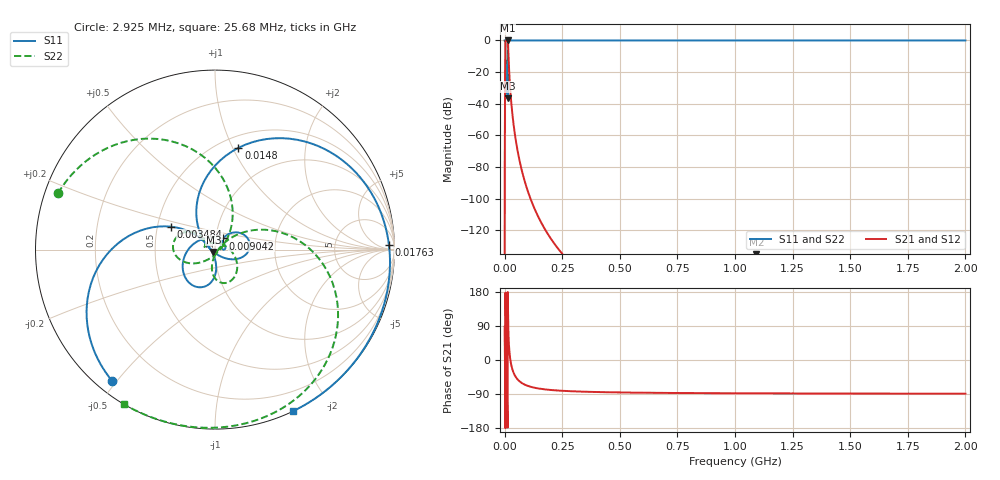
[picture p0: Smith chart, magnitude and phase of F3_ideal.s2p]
! Created with skrf 2.2.0 (http://scikit-rf.org).
# MHz S RI R 50.0
! Port[1] = P1
! Port[2] = P2
!freq ReS11 ImS11 ReS21 ImS21 ReS12 ImS12 ReS22 ImS22
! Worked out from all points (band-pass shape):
!   2001 points, 50 kHz to 2 GHz, reference 50 ohm
!   highest |S21| = 0.00 dB at 13.1 MHz (marker M1); lowest = -198.9 dB at 1.093 GHz (marker M2)
!   |S21| within 3 dB of the highest: 3.211 MHz to 15.21 MHz (12 MHz wide, 130 % of centre)
!   lowest |S11| = -36.4 dB at 13.1 MHz (marker M3), VSWR 1.03, Z = 49.2 - j1.23 ohm
!   |S11| at or under -10 dB: 3.46 MHz to 14.09 MHz (10.63 MHz wide, 121 % of centre)
!   |S22| runs from -36.4 to 0.0 dB; largest |S21 - S12| = 1.6e-15
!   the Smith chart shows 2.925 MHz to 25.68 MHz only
!   S11 on the Smith chart (normalised r, x): 2.925 MHz: 0.05, -0.49; 3.484 MHz: 0.59, +0.16; 9.042 MHz: 1.09, +0.14; 14.8 MHz: 0.61, +1.05; 17.63 MHz: 37, +32; 25.68 MHz: 0.00, -1.59
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0.05  0.9997 -0.0258  9.06e-12 2.17e-10  9.06e-12 2.17e-10  0.9983 -0.0575
0.2934364  0.9885 -0.151  3.67e-07 1.48e-06  3.67e-07 1.48e-06  0.9438 -0.3304
0.6777613  0.9382 -0.3462  5.42e-05 8.6e-05  5.42e-05 8.6e-05  0.7171 -0.697
1.712999  0.5701 -0.8215  0.0123 0.00181  0.0123 0.00181  -0.3086 -0.9511
2.316945  0.1308 -0.9887  0.0662 -0.03  0.0662 -0.03  -0.83 -0.553
2.925237  -0.572 -0.7326  0.1028 -0.3543  0.1028 -0.3543  -0.8753 0.3127
3.484135  -0.2465 0.1278  -0.8941 -0.3515  -0.8941 -0.3515  0.0935 0.2615
3.752403  -0.000796 -0.0515  -0.9692 0.2408  -0.9692 0.2408  -0.0234 -0.0459
4.106076  -0.0542 -0.2046  -0.6779 0.704  -0.6779 0.704  -0.2065 -0.0465
4.968943  -0.1736 -0.0492  0.1527 0.9717  0.1527 0.9717  -0.1501 0.1001
6.720828  0.052 0.0302  0.9876 0.1447  0.9876 0.1447  -0.0585 0.014
9.042332  0.0461 0.0621  0.4782 -0.8748  0.4782 -0.8748  0.0772 0.00532
10  0.1138 0.0961  0.0525 -0.9875  0.0525 -0.9875  0.1234 -0.0834
13.10245  -0.00837 -0.0125  -0.9882 -0.1524  -0.9882 -0.1524  0.0117 -0.00941
14.80049  0.1308 0.5671  -0.4779 0.6579  -0.4779 0.6579  0.5798 -0.0509
17.62829  0.9691 0.0258  0.1408 0.2011  0.1408 0.2011  0.3073 -0.9194
25.67931  0.4356 -0.8999  0.0215 -0.000893  0.0215 -0.000893  -0.5085 -0.8608
58.68728  -0.6289 -0.7775  0.000161 -0.000212  0.000161 -0.000212  -0.9171 -0.3986
74.4887  -0.7626 -0.6469  3.89e-05 -6.93e-05  3.89e-05 -6.93e-05  -0.9491 -0.3151
342.5997  -0.9882 -0.153  4.18e-09 -3.74e-08  4.18e-09 -3.74e-08  -0.9976 -0.0688
1093.233  -0.9988 -0.0481  3.96e-12 -1.13e-10  3.96e-12 -1.13e-10  -0.9998 -0.0216
2000  -0.9997 -0.0263  1.05e-13 -5.54e-12  1.06e-13 -5.54e-12  -0.9999 -0.0118
